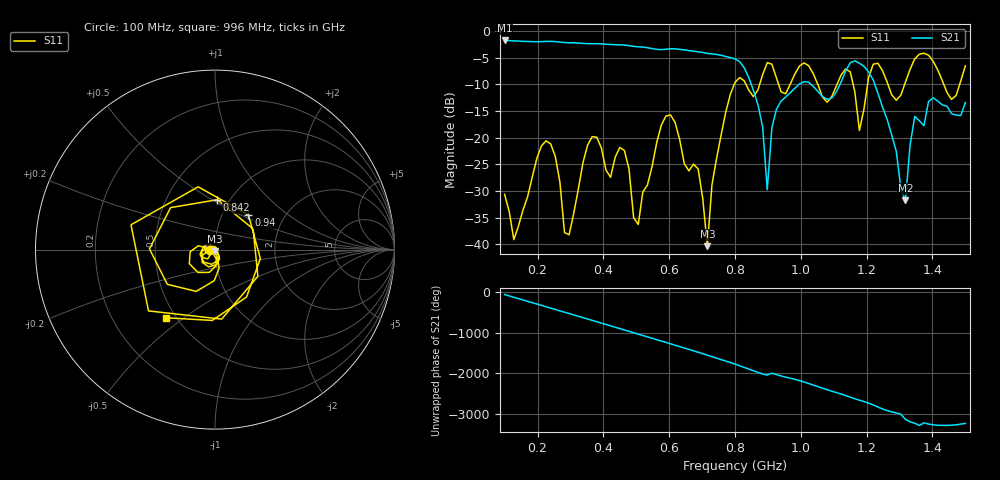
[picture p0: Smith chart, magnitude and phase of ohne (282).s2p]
! NanoVNA-App
! Date: 2025-09-25 14:22:59
! Start: 100MHz Stop: 1,5GHz Points: 101
! S-Parameter data: F S11 S21 S12 S22
# Hz S RI R 50
!  Frequency  S11_Real  S11_Imag  S21_Real  S21_Imag  S12_Real  S12_Imag  S22_Real  S22_Imag
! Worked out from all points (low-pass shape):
!   101 points, 100 MHz to 1.5 GHz, reference 50 ohm
!   highest |S21| = -1.79 dB at 100 MHz (marker M1); lowest = -31.8 dB at 1.318 GHz (marker M2)
!   |S21| within 3 dB of the highest: start of sweep to 771.3 MHz
!   lowest |S11| = -40.4 dB at 716 MHz (marker M3), VSWR 1.02, Z = 49.9 - j0.948 ohm
!   |S11| at or under -10 dB: start of sweep to 797.9 MHz; 833.1 MHz to 875 MHz (41.9 MHz wide, 4.91 % of centre); 1.051 GHz to 1.11 GHz (58.86 MHz wide, 5.45 % of centre) (the widest 3 of 7)
!   S12 and S22 are empty: the file has one direction only
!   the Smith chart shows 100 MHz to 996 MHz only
!   S11 on the Smith chart (normalised r, x): 100 MHz: 0.94, -0.01; 842 MHz: 0.88, +0.53; 940 MHz: 1.33, +0.55; 996 MHz: 0.44, -0.43
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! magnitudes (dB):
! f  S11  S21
! 100 MHz  -30.6  -1.8
! 128 MHz  -39.1  -1.9
! 226 MHz  -20.6  -2.0
! 296 MHz  -38.2  -2.2
! 338 MHz  -24.7  -2.3
! 464 MHz  -22.4  -2.7
! 506 MHz  -36.3  -3.0
! 576 MHz  -17.7  -3.5
! 688 MHz  -25.9  -3.9
! 716 MHz  -40.4  -4.2
! 800 MHz  -9.7  -5.3
! 842 MHz  -11.1  -8.8
! 898 MHz  -6.0  -29.8
! 940 MHz  -11.4  -13.2
! 996 MHz  -6.6  -9.9
! 1.038 GHz  -8.1  -10.4
! 1.178 GHz  -18.7  -6.1
! 1.22 GHz  -6.2  -9.2
! 1.276 GHz  -12.0  -19.5
! 1.318 GHz  -9.6  -31.8
! 1.346 GHz  -5.3  -16.0
! 1.5 GHz  -6.6  -13.4
